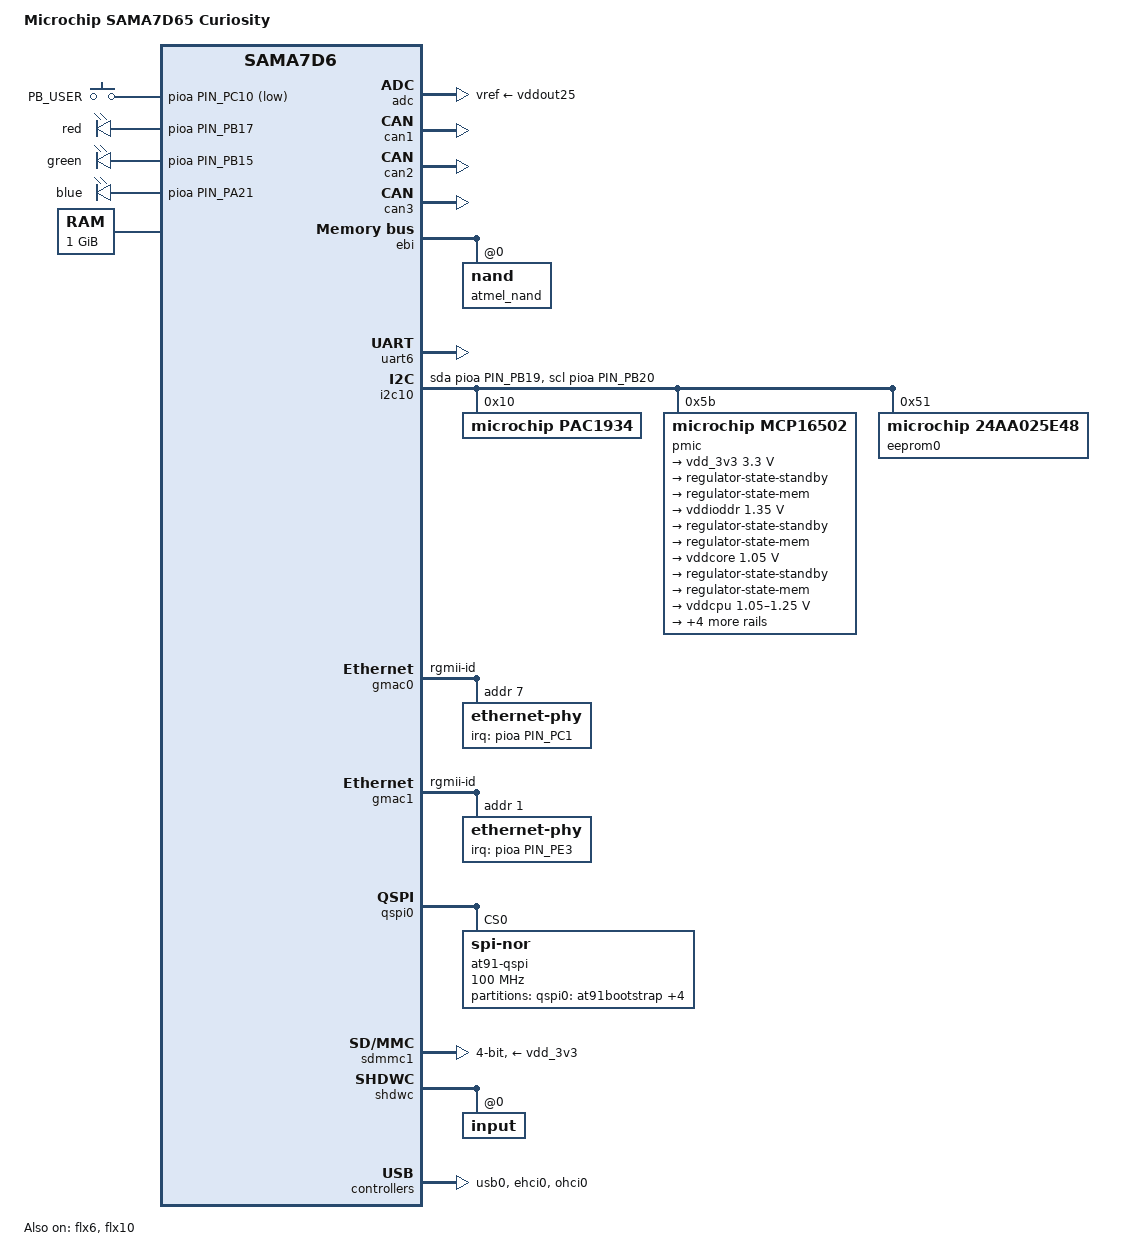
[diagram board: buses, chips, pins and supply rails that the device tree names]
// SPDX-License-Identifier: (GPL-2.0+ OR MIT)
/*
 *  at91-sama7d65_curiosity.dts - Device Tree file for SAMA7D65 Curiosity board
 *
 *  Copyright (c) 2024 Microchip Technology Inc. and its subsidiaries
 *
 *  Author: Romain Sioen <romain.sioen@microchip.com>
 *
 */
/dts-v1/;
#include "sama7d65-pinfunc.h"
#include "sama7d65.dtsi"
#include <dt-bindings/mfd/atmel-flexcom.h>
#include <dt-bindings/input/input.h>
#include <dt-bindings/pinctrl/at91.h>
#include <dt-bindings/sound/microchip,pdmc.h>

/ {
	model = "Microchip SAMA7D65 Curiosity";
	compatible = "microchip,sama7d65-curiosity", "microchip,sama7d65", "microchip,sama7d6", "microchip,sama7";

	chosen {

		bootargs = "rw root=/dev/mmcblk0p2 rootfstype=ext4 rootwait";
		stdout-path = "serial0:115200n8";
	};

	aliases {
		serial0 = &uart6;
		i2c1 = &i2c10;
	};

	gpio-keys {
		compatible = "gpio-keys";

		pinctrl-names = "default";
		pinctrl-0 = <&pinctrl_key_gpio_default>;

		button {
			label = "PB_USER";
			gpios = <&pioa PIN_PC10 GPIO_ACTIVE_LOW>;
			linux,code = <KEY_0>;
			wakeup-source;
		};
	};

	leds {
		compatible = "gpio-leds";
		pinctrl-names = "default";
		pinctrl-0 = <&pinctrl_led_gpio_default>;

		led-red {
			label = "red";
			gpios = <&pioa PIN_PB17 GPIO_ACTIVE_HIGH>; /* Conflict with pwm. */
		};

		led-green {
			label = "green";
			gpios = <&pioa PIN_PB15 GPIO_ACTIVE_HIGH>; /* Conflict with pwm. */
		};

		led-blue {
			label = "blue";
			gpios = <&pioa PIN_PA21 GPIO_ACTIVE_HIGH>;
			linux,default-trigger = "heartbeat";
		};
	};

	memory@60000000 {
		device_type = "memory";
		reg = <0x60000000 0x40000000>;
	};
};

&adc {
	vddana-supply = <&vddout25>;
	vref-supply = <&vddout25>;
	pinctrl-names = "default";
	pinctrl-0 = <&pinctrl_adc_default &pinctrl_adtrg_default>;
	status = "okay";
};

&can1 {
	pinctrl-names = "default";
	pinctrl-0 = <&pinctrl_can1_default>;
	status = "okay";
};

&can2 {
	pinctrl-names = "default";
	pinctrl-0 = <&pinctrl_can2_default>;
	status = "okay";
};

&can3 {
	pinctrl-names = "default";
	pinctrl-0 = <&pinctrl_can3_default>;
	status = "okay";
};

&cpu0 {
	cpu-supply = <&vddcpu>;
};

&dma0 {
	status = "okay";
};

&dma1 {
	status = "okay";
};

&dma2 {
	status = "okay";
};

&ebi {
	pinctrl-names = "default";
	pinctrl-0 = <&pinctrl_nand_default>;
	status = "okay";

	nand_controller: nand-controller {
		status = "okay";

		nand@0 {
			reg = <0x0 0x0 0x1000000>;
			atmel,rb = <0>;
			nand-bus-width = <8>;
			nand-ecc-mode = "hw";
			nand-ecc-strength = <8>;
			nand-ecc-step-size = <512>;
			nand-on-flash-bbt;
			label = "atmel_nand";
		};
	};
};

&flx6 {
	atmel,flexcom-mode = <ATMEL_FLEXCOM_MODE_USART>;
	status = "okay";
};

&uart6 {
	pinctrl-names = "default";
	pinctrl-0 = <&pinctrl_uart6_default>;
	status = "okay";
};

&flx10 {
	atmel,flexcom-mode = <ATMEL_FLEXCOM_MODE_TWI>;
	status = "okay";
};

&i2c10 {
	dmas = <0>, <0>;
	pinctrl-names = "default", "gpio";
	pinctrl-0 = <&pinctrl_i2c10_default>;
	pinctrl-1 = <&pinctrl_i2c10_gpio>;
	sda-gpios = <&pioa PIN_PB19 GPIO_ACTIVE_HIGH>;
	scl-gpios = <&pioa PIN_PB20 (GPIO_ACTIVE_HIGH | GPIO_OPEN_DRAIN)>;
	i2c-analog-filter;
	i2c-digital-filter;
	i2c-digital-filter-width-ns = <35>;
	status = "okay";

	pac1934@10 {
		compatible = "microchip,pac1934";
		reg = <0x10>;
		#address-cells = <1>;
		#size-cells = <0>;

		channel@1 {
			reg = <0x1>;
			shunt-resistor-micro-ohms = <47000>;
			label = "VDD3V3";
		};

		channel@2 {
			reg = <0x2>;
			shunt-resistor-micro-ohms = <47000>;
			label = "VDDIODDR";
		};

		channel@3 {
			reg = <0x3>;
			shunt-resistor-micro-ohms = <47000>;
			label = "VDDCORE";
		};

		channel@4 {
			reg = <0x4>;
			shunt-resistor-micro-ohms = <47000>;
			label = "VDDCPU";
		};
	};

	pmic@5b {
		compatible = "microchip,mcp16502";
		reg = <0x5b>;

		regulators {
			vdd_3v3: VDD_IO {
				regulator-name = "VDD_IO";
				regulator-min-microvolt = <3300000>;
				regulator-max-microvolt = <3300000>;
				regulator-initial-mode = <2>;
				regulator-allowed-modes = <2>, <4>;
				regulator-always-on;

				regulator-state-standby {
					regulator-on-in-suspend;
					regulator-suspend-microvolt = <3300000>;
					regulator-mode = <4>;
				};

				regulator-state-mem {
					regulator-off-in-suspend;
					regulator-mode = <4>;
				};
			};

			vddioddr: VDD_DDR {
				regulator-name = "VDD_DDR";
				regulator-min-microvolt = <1350000>;
				regulator-max-microvolt = <1350000>;
				regulator-initial-mode = <2>;
				regulator-allowed-modes = <2>, <4>;
				regulator-always-on;

				regulator-state-standby {
					regulator-on-in-suspend;
					regulator-suspend-microvolt = <1350000>;
					regulator-mode = <4>;
				};

				regulator-state-mem {
					regulator-on-in-suspend;
					regulator-suspend-microvolt = <1350000>;
					regulator-mode = <4>;
				};
			};

			vddcore: VDD_CORE {
				regulator-name = "VDD_CORE";
				regulator-min-microvolt = <1050000>;
				regulator-max-microvolt = <1050000>;
				regulator-initial-mode = <2>;
				regulator-allowed-modes = <2>, <4>;
				regulator-always-on;

				regulator-state-standby {
					regulator-on-in-suspend;
					regulator-suspend-microvolt = <1050000>;
					regulator-mode = <4>;
				};

				regulator-state-mem {
					regulator-off-in-suspend;
					regulator-mode = <4>;
				};
			};

			vddcpu: VDD_OTHER {
				regulator-name = "VDD_OTHER";
				regulator-min-microvolt = <1050000>;
				regulator-max-microvolt = <1250000>;
				regulator-initial-mode = <2>;
				regulator-allowed-modes = <2>, <4>;
				regulator-ramp-delay = <3125>;
				regulator-always-on;

				regulator-state-standby {
					regulator-on-in-suspend;
					regulator-suspend-microvolt = <1050000>;
					regulator-mode = <4>;
				};

				regulator-state-mem {
					regulator-off-in-suspend;
					regulator-mode = <4>;
				};
			};

			vldo1: LDO1 {
				regulator-name = "LDO1";
				regulator-min-microvolt = <1800000>;
				regulator-max-microvolt = <1800000>;
				regulator-always-on;

				regulator-state-standby {
					regulator-suspend-microvolt = <1800000>;
					regulator-on-in-suspend;
				};

				regulator-state-mem {
					regulator-off-in-suspend;
				};
			};

			vldo2: LDO2 {
				regulator-name = "LDO2";
				regulator-min-microvolt = <1200000>;
				regulator-max-microvolt = <3700000>;

				regulator-state-standby {
					regulator-suspend-microvolt = <1800000>;
					regulator-on-in-suspend;
				};

				regulator-state-mem {
					regulator-off-in-suspend;
				};
			};
		};
	};

	eeprom0: eeprom0@51 {
		compatible = "microchip,24aa025e48";
		#address-cells = <1>;
		#size-cells = <0>;
		reg = <0x51>;
		pagesize = <16>;
		size = <256>;

		nvmem-layout {
			compatible = "fixed-layout";
			#address-cells = <1>;
			#size-cells = <1>;
			eeprom0_eui48: eui48@fa {
				reg = <0xfa 0x6>;
			};
		};
	};
};

&main_xtal {
	clock-frequency = <24000000>;
};

&gmac0 {
	#address-cells = <1>;
	#size-cells = <0>;
	pinctrl-names = "default";
	pinctrl-0 = <&pinctrl_gmac0_default
		     &pinctrl_gmac0_mdio_default
		     &pinctrl_gmac0_txck_default
		     &pinctrl_gmac0_phy_irq>;
	phy-mode = "rgmii-id";
	status = "okay";

	nvmem-cells = <&eeprom0_eui48>;
	nvmem-cell-names = "mac-address";

	ethernet-phy@7 {
		reg = <0x7>;
		interrupt-parent = <&pioa>;
		interrupts = <PIN_PC1 IRQ_TYPE_LEVEL_LOW>;
		status = "okay";
	};
};

&gmac1 {
	#address-cells = <1>;
	#size-cells = <0>;
	pinctrl-names = "default";
	pinctrl-0 = <&pinctrl_gmac1_default
		     &pinctrl_gmac1_mdc_default
		     &pinctrl_gmac1_mdio_default
		     &pinctrl_gmac1_txck_default
		     &pinctrl_gmac1_phy_irq>;
	phy-mode = "rgmii-id";
	status = "okay";

	ethernet-phy@1 {
		reg = <0x1>;
		interrupt-parent = <&pioa>;
		interrupts = <PIN_PE3 IRQ_TYPE_LEVEL_LOW>;
		status = "okay";
	};
};

&pioa {
	pinctrl_adc_default: adc_default {
		pinmux = <PIN_PC5__GPIO>;
		bias-disable;
	};

	pinctrl_adtrg_default: adtrg-default {
		pinmux = <PIN_PB7__ADTRG>;
		bias-pull-up;
	};

	pinctrl_can1_default: can1-default {
		pinmux = <PIN_PD10__CANTX1>,
			<PIN_PD11__CANRX1>;
		bias-disable;
	};

	pinctrl_can2_default: can2-default {
		pinmux = <PIN_PD12__CANTX2>,
			<PIN_PD13__CANRX2>;
		bias-disable;
	};

	pinctrl_can3_default: can3-default {
		pinmux = <PIN_PD14__CANTX3>,
			<PIN_PD15__CANRX3>;
		bias-disable;
	};

	pinctrl_gmac0_default: gmac0-default {
		pinmux = <PIN_PA26__G0_TX0>,
			 <PIN_PA27__G0_TX1>,
			 <PIN_PB4__G0_TX2>,
			 <PIN_PB5__G0_TX3>,
			 <PIN_PA29__G0_RX0>,
			 <PIN_PA30__G0_RX1>,
			 <PIN_PB2__G0_RX2>,
			 <PIN_PB6__G0_RX3>,
			 <PIN_PA25__G0_TXCTL>,
			 <PIN_PB3__G0_RXCK>,
			 <PIN_PA28__G0_RXCTL>;
		slew-rate = <0>;
		bias-disable;
	};

	pinctrl_gmac0_mdio_default: gmac0-mdio-default {
		pinmux = <PIN_PA31__G0_MDC>,
			 <PIN_PB0__G0_MDIO>;
		bias-disable;
	};

	pinctrl_gmac0_phy_irq: gmac0-phy-irq {
		pinmux = <PIN_PC1__GPIO>;
		bias-disable;
	};

	pinctrl_gmac0_txck_default: gmac0-txck-default {
		pinmux = <PIN_PB1__G0_REFCK>;
		slew-rate = <0>;
		bias-pull-up;
	};

	pinctrl_gmac1_default: gmac1-default{
		pinmux = <PIN_PD22__G1_TX0>,
			 <PIN_PD23__G1_TX1>,
			 <PIN_PE0__G1_TX2>,
			 <PIN_PE1__G1_TX3>,
			 <PIN_PD27__G1_RX0>,
			 <PIN_PD28__G1_RX1>,
			 <PIN_PD30__G1_RX2>,
			 <PIN_PD31__G1_RX3>,
			 <PIN_PD21__G1_TXCTL>,
			 <PIN_PE2__G1_RXCK>,
			 <PIN_PD24__G1_RXCTL>;
		slew-rate = <0>;
		bias-disable;
	};

	pinctrl_gmac1_mdc_default: gmac1-mdc-default {
		pinmux = <PIN_PD25__G1_MDC>;
		bias-disable;
	};

	pinctrl_gmac1_mdio_default: gmac1-mdio-default {
		pinmux = <PIN_PD26__G1_MDIO>;
		bias-pull-up; /* if R30 is not mounted on LAN8840 EDS2 Daughter Card */
	};

	pinctrl_gmac1_phy_irq: gmac1-phy-irq {
		pinmux = <PIN_PE3__GPIO>;
		bias-disable;
	};

	pinctrl_gmac1_txck_default: gmac1-txck-default {
		pinmux = <PIN_PD29__G1_REFCK>;
		slew-rate = <0>;
		bias-pull-up;
	};

	pinctrl_led_gpio_default: led-gpio-default {
		pinmux = <PIN_PB15__GPIO>,
			 <PIN_PB17__GPIO>,
			 <PIN_PA21__GPIO>;
		bias-pull-up;
	};

	pinctrl_i2c10_default: i2c10-default{
		pinmux = <PIN_PB19__FLEXCOM10_IO1>,
			 <PIN_PB20__FLEXCOM10_IO0>;
		bias-disable;
	};

	pinctrl_i2c10_gpio: i2c10-gpio{
		pinmux = <PIN_PB19__GPIO>,
			 <PIN_PB20__GPIO>;
		bias-disable;
	};

	pinctrl_key_gpio_default: key-gpio-default {
		pinmux = <PIN_PC10__GPIO>;
		bias-pull-up;
	};

	pinctrl_nand_default: nand-default {
		pinmux = <PIN_PA0__NWER0>,
			 <PIN_PA1__A21>,
			 <PIN_PA2__A22>,
			 <PIN_PA3__D0>,
			 <PIN_PA4__D1>,
			 <PIN_PA5__D4>,
			 <PIN_PA6__D5>,
			 <PIN_PA7__D6>,
			 <PIN_PA8__D7>,
			 <PIN_PA9__D2>,
			 <PIN_PA10__D3>,
			 <PIN_PA11__NANDRDY>,
			 <PIN_PA12__NRD>,
			 <PIN_PA13__NCS0>;
		slew-rate = <0>;
		bias-disable;
	};

	pinctrl_qspi0_default: qspi0-default {
		pinmux = <PIN_PB8__QSPI0_IO3>,
			 <PIN_PB9__QSPI0_IO2>,
			 <PIN_PB10__QSPI0_IO1>,
			 <PIN_PB11__QSPI0_IO0>,
			 <PIN_PB12__QSPI0_CS>,
			 <PIN_PB13__QSPI0_SCK>;
		bias-disable;
		atmel,drive-strength = <ATMEL_PIO_DRVSTR_ME>;
		slew-rate = <0>;
	};

	pinctrl_sdmmc1_default: sdmmc1-default {
		cmd-data {
			pinmux = <PIN_PB22__SDMMC1_CMD>,
				 <PIN_PB24__SDMMC1_DAT0>,
				 <PIN_PB25__SDMMC1_DAT1>,
				 <PIN_PB26__SDMMC1_DAT2>,
				 <PIN_PB27__SDMMC1_DAT3>;
			slew-rate = <0>;
			bias-disable;
		};

		ck-cd-rstn-vddsel {
			pinmux = <PIN_PB23__SDMMC1_CK>,
				 <PIN_PB21__SDMMC1_RSTN>,
				 <PIN_PB30__SDMMC1_1V8SEL>,
				 <PIN_PB29__SDMMC1_CD>,
				 <PIN_PB28__SDMMC1_WP>;
			slew-rate = <0>;
			bias-disable;
		};
	};

	pinctrl_uart6_default: uart6-default {
		pinmux = <PIN_PD18__FLEXCOM6_IO0>,
			 <PIN_PD19__FLEXCOM6_IO1>;
		bias-disable;
	};

	pinctrl_usba_vbus_det: usba-vbus-det {
		pinmux = <PIN_PC8__GPIO>;
		bias-disable;
	};

	pinctrl_usbb_vbus_en: usbb-vbus-en {
		pinmux = <PIN_PC20__GPIO>;
		bias-disable;
	};

	pinctrl_usbc_vbus_en: usbc-vbus-en {
		pinmux = <PIN_PC21__GPIO>;
		bias-disable;
	};
};

&qspi0 {
	pinctrl-names = "default";
	pinctrl-0 = <&pinctrl_qspi0_default>;
	status = "okay";

	flash@0 {
		compatible = "jedec,spi-nor";
		reg = <0x0>;
		spi-max-frequency = <100000000>;
		spi-tx-bus-width = <4>;
		spi-rx-bus-width = <4>;
		m25p,fast-read;
		label = "at91-qspi";

		partitions {
			compatible = "fixed-partitions";
			#address-cells = <1>;
			#size-cells = <1>;

			at91bootstrap@0 {
				label = "qspi0: at91bootstrap";
				reg = <0x0 0x40000>;
			};

			bootloader@40000 {
				label = "qspi0: u-boot";
				reg = <0x40000 0x100000>;
			};

			bootloaderenv@140000 {
				label = "qspi0: u-boot env";
				reg = <0x140000 0x40000>;
			};

			dtb@180000 {
				label = "qspi0: device tree";
				reg = <0x180000 0x80000>;
			};

			kernel@200000 {
				label = "qspi0: kernel";
				reg = <0x200000 0x600000>;
			};
		};
	};
};

&rtt {
	atmel,rtt-rtc-time-reg = <&gpbr 0x0>;
	status = "disabled";
};

&sdmmc1 {
	bus-width = <4>;
	vmmc-supply = <&vdd_3v3>;
	pinctrl-names = "default";
	pinctrl-0 = <&pinctrl_sdmmc1_default>;
	status = "okay";
};

&shdwc {
	debounce-delay-us = <976>;
	status = "okay";

	input@0 {
		reg = <0>;
	};
};

&slow_xtal {
	clock-frequency = <32768>;
};

&usb0 {
	atmel,vbus-gpio = <&pioa PIN_PC8 GPIO_ACTIVE_HIGH>;
	pinctrl-names = "default";
	pinctrl-0 = <&pinctrl_usba_vbus_det>;
	status = "okay";
};

&ehci0 {
	status = "okay";
};

&ohci0 {
	num-ports = <3>;
	atmel,vbus-gpio = <0
			   &pioa PIN_PC20 GPIO_ACTIVE_HIGH
			   &pioa PIN_PC21 GPIO_ACTIVE_HIGH>;
	pinctrl-names = "default";
	pinctrl-0 = <&pinctrl_usbb_vbus_en &pinctrl_usbc_vbus_en>;
	status = "okay";
};

&vddout25 {
	vin-supply = <&vdd_3v3>;
	status = "okay";
};
